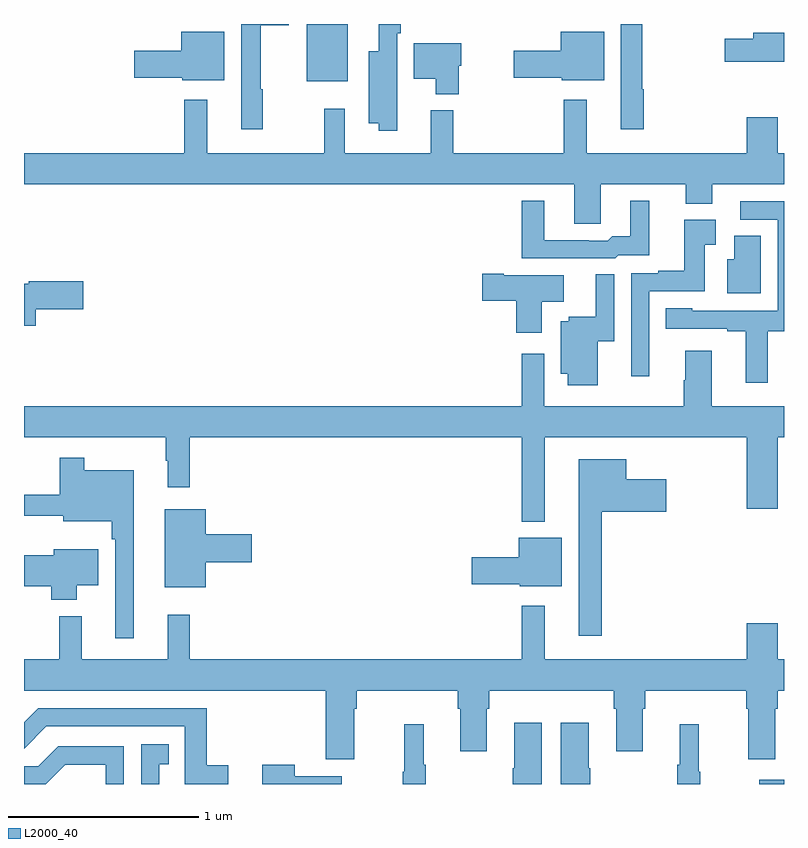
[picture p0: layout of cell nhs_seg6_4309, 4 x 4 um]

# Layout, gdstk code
import gdstk
lib = gdstk.Library(unit=1e-6, precision=1e-09)
def R(c, l, rs):  # rectangles x0, y0, x1, y1
    for r in rs: c.add(gdstk.rectangle(r[:2], r[2:], *l))
def P(c, l, *ps):  # polygons
    for p in ps: c.add(gdstk.Polygon(p, *l))
L2000_40 = (2000, 40)

nhs_seg6_4309 = lib.new_cell('nhs_seg6_4309')
R(nhs_seg6_4309, L2000_40, [(368.871,957.5,369,957.523), (366.488,961.199,366.703,961.5)])
P(nhs_seg6_4309, L2000_40, [(368.263,961.157),(368.255,961.157),(368.255,961.5),(368.141,961.5),(368.141,960.945),(368.263,960.945)],
  [(366.257,961.157),(366.247,961.157),(366.247,961.493),(366.394,961.493),(366.394,961.5),(366.143,961.5),(366.143,960.945),(366.257,960.945)],
  [(366.964,961.451),(366.983,961.451),(366.983,961.5),(366.866,961.5),(366.866,961.357),(366.815,961.357),(366.815,960.977),(366.866,960.977),(366.866,960.938),(366.964,960.938)],
  [(368.053,961.459),(367.826,961.459),(367.826,961.358),(367.578,961.358),(367.578,961.216),(367.83,961.216),(367.83,961.205),(368.053,961.205)],
  [(366.055,961.459),(365.828,961.459),(365.828,961.358),(365.58,961.358),(365.58,961.216),(365.832,961.216),(365.832,961.205),(366.055,961.205)],
  [(369,961.453),(368.837,961.453),(368.837,961.423),(368.688,961.423),(368.688,961.301),(369,961.301)],
  [(367.288,961.281),(367.3,961.281),(367.3,961.399),(367.052,961.399),(367.052,961.211),(367.166,961.211),(367.166,961.13),(367.288,961.13)],
  [(368.035,960.656),(368.483,960.656),(368.483,960.554),(368.623,960.554),(368.623,960.656),(369,960.656),(369,960.82),(368.968,960.82),(368.968,961.009),(368.804,961.009),(368.804,960.82),(367.963,960.82),(367.963,961.102),(367.842,961.102),(367.842,960.82),(367.259,960.82),(367.259,961.045),(367.142,961.045),(367.142,960.82),(366.687,960.82),(366.687,961.054),(366.579,961.054),(366.579,960.82),(365.965,960.82),(365.965,961.102),(365.844,961.102),(365.844,960.82),(365,960.82),(365,960.656),(367.895,960.656),(367.895,960.448),(368.035,960.448)],
  [(368.127,960.282),(368.291,960.282),(368.291,960.571),(368.192,960.571),(368.192,960.383),(368.096,960.383),(368.073,960.36),(367.973,960.36),(367.973,960.363),(367.738,960.363),(367.738,960.571),(367.621,960.571),(367.621,960.267),(368.112,960.267)],
  [(368.915,959.883),(369,959.883),(369,960.567),(368.769,960.567),(368.769,960.471),(368.967,960.471),(368.967,959.991),(368.517,959.991),(368.517,960.004),(368.377,960.004),(368.377,959.895),(368.702,959.895),(368.702,959.883),(368.798,959.883),(368.798,959.613),(368.915,959.613)],
  [(368.292,960.093),(368.584,960.093),(368.584,960.337),(368.641,960.337),(368.641,960.469),(368.474,960.469),(368.474,960.202),(368.339,960.202),(368.339,960.189),(368.196,960.189),(368.196,959.646),(368.292,959.646)],
  [(368.878,960.386),(368.738,960.386),(368.738,960.262),(368.702,960.262),(368.702,960.083),(368.878,960.083)],
  [(367.726,960.038),(367.84,960.038),(367.84,960.178),(367.525,960.178),(367.525,960.186),(367.413,960.186),(367.413,960.044),(367.592,960.044),(367.592,959.874),(367.726,959.874)],
  [(368.02,959.83),(368.106,959.83),(368.106,960.182),(368.009,960.182),(368.009,959.958),(367.866,959.958),(367.866,959.935),(367.826,959.935),(367.826,959.66),(367.862,959.66),(367.862,959.598),(368.02,959.598)],
  [(365.063,959.999),(365.311,959.999),(365.311,960.146),(365.026,960.146),(365.026,960.133),(365,960.133),(365,959.913),(365.063,959.913)],
  [(367.741,959.324),(368.804,959.324),(368.804,958.95),(368.968,958.95),(368.968,959.324),(369,959.324),(369,959.488),(368.62,959.488),(368.62,959.779),(368.48,959.779),(368.48,959.625),(368.473,959.625),(368.473,959.488),(367.737,959.488),(367.737,959.764),(367.621,959.764),(367.621,959.488),(365,959.488),(365,959.324),(365.745,959.324),(365.745,959.201),(365.756,959.201),(365.756,959.061),(365.873,959.061),(365.873,959.324),(367.62,959.324),(367.62,958.88),(367.741,958.88)],
  [(365.578,959.152),(365.317,959.152),(365.317,959.218),(365.188,959.218),(365.188,959.023),(365,959.023),(365,958.913),(365.207,958.913),(365.207,958.883),(365.461,958.883),(365.461,958.787),(365.481,958.787),(365.481,958.266),(365.578,958.266)],
  [(368.041,958.934),(368.38,958.934),(368.38,959.104),(368.17,959.104),(368.17,959.209),(367.919,959.209),(367.919,958.281),(368.041,958.281)],
  [(365.956,958.667),(366.199,958.667),(366.199,958.814),(365.956,958.814),(365.956,958.945),(365.741,958.945),(365.741,958.535),(365.956,958.535)],
  [(367.831,958.795),(367.604,958.795),(367.604,958.694),(367.356,958.694),(367.356,958.552),(367.608,958.552),(367.608,958.541),(367.831,958.541)],
  [(365.278,958.547),(365.392,958.547),(365.392,958.735),(365.156,958.735),(365.156,958.705),(365,958.705),(365,958.54),(365.144,958.54),(365.144,958.469),(365.278,958.469)],
  [(366.739,957.896),(366.752,957.896),(366.752,957.992),(367.283,957.992),(367.283,957.896),(367.295,957.896),(367.295,957.672),(367.435,957.672),(367.435,957.896),(367.448,957.896),(367.448,957.992),(368.105,957.992),(368.105,957.896),(368.117,957.896),(368.117,957.672),(368.257,957.672),(368.257,957.896),(368.27,957.896),(368.27,957.992),(368.801,957.992),(368.801,957.896),(368.813,957.896),(368.813,957.63),(368.953,957.63),(368.953,957.896),(368.966,957.896),(368.966,957.992),(369,957.992),(369,958.156),(368.968,958.156),(368.968,958.345),(368.804,958.345),(368.804,958.156),(367.741,958.156),(367.741,958.438),(367.62,958.438),(367.62,958.156),(365.873,958.156),(365.873,958.39),(365.756,958.39),(365.756,958.156),(365.303,958.156),(365.303,958.384),(365.185,958.384),(365.185,958.156),(365,958.156),(365,957.992),(366.587,957.992),(366.587,957.63),(366.739,957.63)],
  [(366.074,957.598),(365.963,957.598),(365.963,957.9),(365.076,957.9),(365,957.824),(365,957.686),(365.118,957.804),(365.847,957.804),(365.847,957.5),(366.074,957.5)],
  [(367.726,957.823),(367.58,957.823),(367.58,957.584),(367.573,957.584),(367.573,957.5),(367.726,957.5)],
  [(367.98,957.584),(367.972,957.584),(367.972,957.823),(367.826,957.823),(367.826,957.5),(367.98,957.5)],
  [(367.114,957.601),(367.103,957.601),(367.103,957.814),(367,957.814),(367,957.564),(366.993,957.564),(366.993,957.5),(367.114,957.5)],
  [(368.56,957.564),(368.552,957.564),(368.552,957.814),(368.45,957.814),(368.45,957.601),(368.439,957.601),(368.439,957.5),(368.56,957.5)],
  [(365.713,957.603),(365.762,957.603),(365.762,957.709),(365.616,957.709),(365.616,957.5),(365.713,957.5)],
  [(365.216,957.602),(365.43,957.602),(365.43,957.5),(365.526,957.5),(365.526,957.699),(365.18,957.699),(365.075,957.594),(365,957.594),(365,957.5),(365.114,957.5)],
  [(366.673,957.541),(366.425,957.541),(366.425,957.601),(366.254,957.601),(366.254,957.5),(366.673,957.5)])

lib.write_gds('nhs_seg6_4309.gds')
